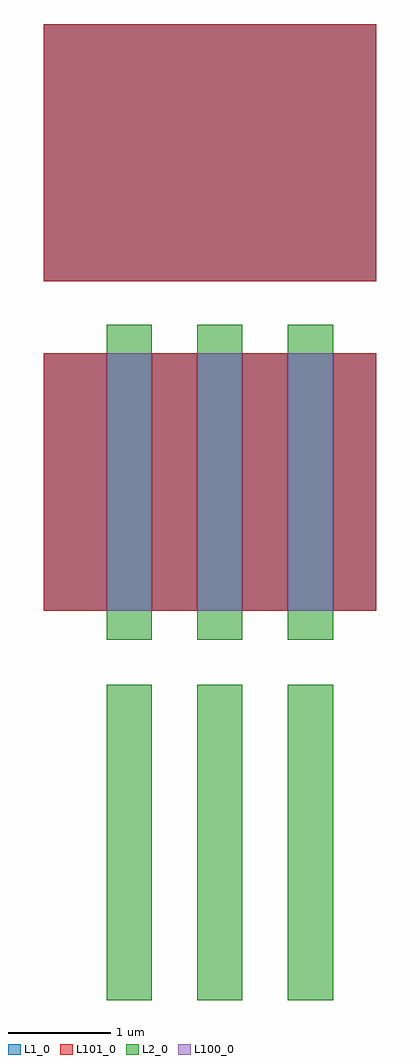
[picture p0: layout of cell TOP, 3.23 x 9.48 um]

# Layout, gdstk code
import gdstk
lib = gdstk.Library(unit=1e-6, precision=1e-09)
def R(c, l, rs):  # rectangles x0, y0, x1, y1
    for r in rs: c.add(gdstk.rectangle(r[:2], r[2:], *l))
def A(c, l, x, y, w, h, nx, ny, dx, dy):  # array of equal rectangles
    R(c, l, [(x+i*dx, y+j*dy, x+i*dx+w, y+j*dy+h) for i in range(nx) for j in range(ny)])
L1_0 = (1, 0)
L2_0 = (2, 0)
L100_0 = (100, 0)
L101_0 = (101, 0)

top = lib.new_cell('TOP')
A(top, L1_0, 39.07, 6.8, 1.47, 2.5, 3, 2, 0.88, 3.2)
A(top, L2_0, 39.68, 3.02, 0.44, 3.06, 3, 2, 0.88, 3.5)
A(top, L100_0, 39.68, 6.8, 0.44, 2.5, 3, 1, 0.88, 0)
A(top, L101_0, 39.07, 10, 1.47, 2.5, 3, 1, 0.88, 0)
R(top, L101_0, [(39.07,6.8,39.68,9.3), (40.12,6.8,40.56,9.3), (41,6.8,41.44,9.3), (41.88,6.8,42.3,9.3)])

lib.write_gds('TOP.gds')
